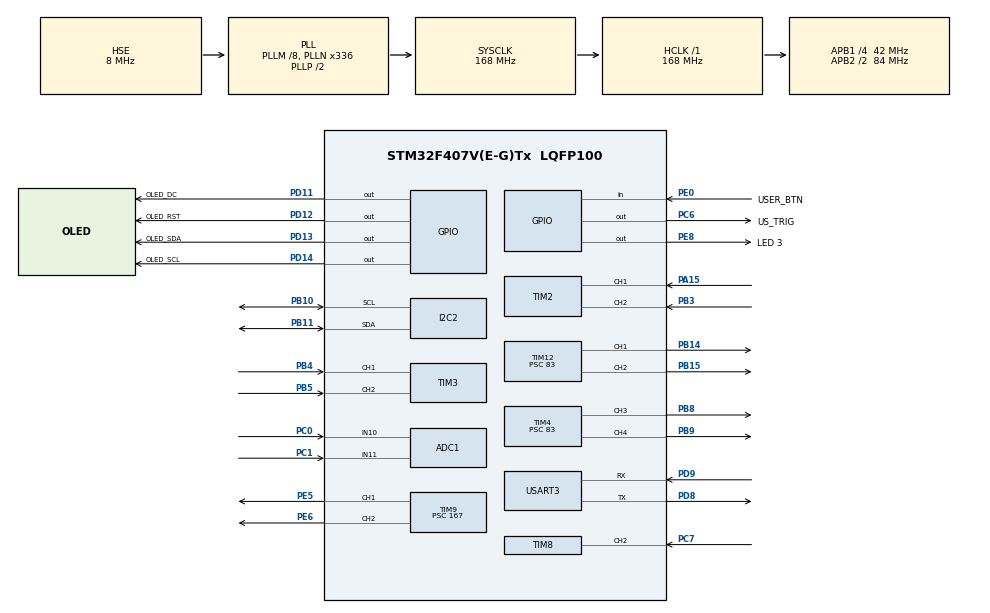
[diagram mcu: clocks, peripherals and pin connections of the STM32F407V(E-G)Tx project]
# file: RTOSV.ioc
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ADC1.Channel-0\#ChannelRegularConversion=ADC_CHANNEL_10
ADC1.Channel-1\#ChannelRegularConversion=ADC_CHANNEL_11
ADC1.DiscontinuousConvMode=DISABLE
ADC1.EOCSelection=ADC_EOC_SEQ_CONV
ADC1.NbrOfConversion=2
ADC1.NbrOfConversionFlag=1
ADC1.Rank-0\#ChannelRegularConversion=1
ADC1.Rank-1\#ChannelRegularConversion=2
ADC1.SamplingTime-0\#ChannelRegularConversion=ADC_SAMPLETIME_84CYCLES
ADC1.SamplingTime-1\#ChannelRegularConversion=ADC_SAMPLETIME_84CYCLES
ADC1.ScanConvMode=ENABLE
ADC1.master=1
Dma.ADC1.0.Direction=DMA_PERIPH_TO_MEMORY
Dma.ADC1.0.FIFOMode=DMA_FIFOMODE_DISABLE
Dma.ADC1.0.Instance=DMA2_Stream0
Dma.ADC1.0.MemDataAlignment=DMA_MDATAALIGN_HALFWORD
Dma.ADC1.0.MemInc=DMA_MINC_ENABLE
Dma.ADC1.0.Mode=DMA_NORMAL
Dma.ADC1.0.PeriphDataAlignment=DMA_PDATAALIGN_HALFWORD
Dma.ADC1.0.PeriphInc=DMA_PINC_DISABLE
Dma.ADC1.0.Priority=DMA_PRIORITY_MEDIUM
Dma.Request0=ADC1
FREERTOS.Tasks01=defaultTask,24,128,StartDefaultTask,Default,NULL,Dynamic,NULL,NULL;MotionTask,32,256,StartMotionTask,Default,NULL,Dynamic,NULL,NULL;IMUTask,24,256,StartIMUTask,Default,NULL,Dynamic,NULL,NULL;EncoderTask,24,128,StartEncoderTask,Default,NULL,Dynamic,NULL,NULL;CommTask,24,512,StartCommTask,Default,NULL,Dynamic,NULL,NULL
FREERTOS.configUSE_MALLOC_FAILED_HOOK=1
FREERTOS.configUSE_NEWLIB_REENTRANT=1
Mcu.Family=STM32F4
Mcu.Name=STM32F407V(E-G)Tx
Mcu.Package=LQFP100
NVIC.DMA2_Stream0_IRQn=true\:5\:0\:false\:false\:true\:true\:false\:true\:true
NVIC.PriorityGroup=NVIC_PRIORITYGROUP_4
NVIC.TIM6_DAC_IRQn=true\:15\:0\:false\:false\:true\:false\:false\:true\:true
NVIC.TIM8_CC_IRQn=true\:5\:0\:false\:false\:true\:true\:true\:true\:true
NVIC.TimeBase=TIM6_DAC_IRQn
NVIC.TimeBaseIP=TIM6
NVIC.USART3_IRQn=true\:5\:0\:false\:false\:true\:true\:true\:true\:true
PA13.Mode=Serial_Wire
PA13.Signal=SYS_JTMS-SWDIO
PA14.Mode=Serial_Wire
PA14.Signal=SYS_JTCK-SWCLK
PA15.Signal=S_TIM2_CH1_ETR
PB10.Mode=I2C
PB10.Signal=I2C2_SCL
PB11.Mode=I2C
PB11.Signal=I2C2_SDA
PB14.Signal=S_TIM12_CH1
PB15.Signal=S_TIM12_CH2
PB3.Signal=S_TIM2_CH2
PB4.Signal=S_TIM3_CH1
PB5.Signal=S_TIM3_CH2
PB8.Signal=S_TIM4_CH3
PB9.Signal=S_TIM4_CH4
PC0.Signal=ADCx_IN10
PC1.Signal=ADCx_IN11
PC6.GPIO_Label=US_TRIG
PC6.Signal=GPIO_Output
PC7.Signal=S_TIM8_CH2
PD11.GPIO_Label=OLED_DC
PD11.Signal=GPIO_Output
PD12.GPIO_Label=OLED_RST
PD12.Signal=GPIO_Output
PD13.GPIO_Label=OLED_SDA
PD13.Signal=GPIO_Output
PD14.GPIO_Label=OLED_SCL
PD14.Signal=GPIO_Output
PD8.Mode=Asynchronous
PD8.Signal=USART3_TX
PD9.Mode=Asynchronous
PD9.Signal=USART3_RX
PE0.GPIO_Label=USER_BTN
PE0.Signal=GPIO_Input
PE5.Signal=S_TIM9_CH1
PE6.Signal=S_TIM9_CH2
PE8.GPIO_Label=LED 3
PE8.GPIO_PuPd=GPIO_NOPULL
PE8.PinState=GPIO_PIN_SET
PE8.Signal=GPIO_Output
PH0-OSC_IN.Mode=HSE-External-Oscillator
PH0-OSC_IN.Signal=RCC_OSC_IN
PH1-OSC_OUT.Mode=HSE-External-Oscillator
PH1-OSC_OUT.Signal=RCC_OSC_OUT
ProjectManager.HeapSize=0x200
ProjectManager.StackSize=0x400
ProjectManager.TargetToolchain=STM32CubeIDE
RCC.48MHZClocksFreq_Value=84000000
RCC.AHBFreq_Value=168000000
RCC.APB1CLKDivider=RCC_HCLK_DIV4
RCC.APB1Freq_Value=42000000
RCC.APB1TimFreq_Value=84000000
RCC.APB2CLKDivider=RCC_HCLK_DIV2
RCC.APB2Freq_Value=84000000
RCC.APB2TimFreq_Value=168000000
RCC.CortexFreq_Value=168000000
RCC.HCLKFreq_Value=168000000
RCC.HSE_VALUE=8000000
RCC.HSI_VALUE=16000000
RCC.LSE_VALUE=32768
RCC.PLLM=8
RCC.PLLN=336
RCC.PLLSourceVirtual=RCC_PLLSOURCE_HSE
RCC.SYSCLKFreq_VALUE=168000000
RCC.SYSCLKSource=RCC_SYSCLKSOURCE_PLLCLK
RCC.VCOOutputFreq_Value=336000000
SH.ADCx_IN10.0=ADC1_IN10,IN10
SH.ADCx_IN11.0=ADC1_IN11,IN11
SH.S_TIM12_CH1.0=TIM12_CH1,PWM Generation1 CH1
SH.S_TIM12_CH2.0=TIM12_CH2,PWM Generation2 CH2
SH.S_TIM2_CH1_ETR.0=TIM2_CH1,Encoder_Interface
SH.S_TIM2_CH2.0=TIM2_CH2,Encoder_Interface
SH.S_TIM3_CH1.0=TIM3_CH1,Encoder_Interface
SH.S_TIM3_CH2.0=TIM3_CH2,Encoder_Interface
SH.S_TIM4_CH3.0=TIM4_CH3,PWM Generation3 CH3
SH.S_TIM4_CH4.0=TIM4_CH4,PWM Generation4 CH4
SH.S_TIM8_CH2.0=TIM8_CH2,Input_Capture2_from_TI2
SH.S_TIM9_CH1.0=TIM9_CH1,PWM Generation1 CH1
SH.S_TIM9_CH2.0=TIM9_CH2,PWM Generation2 CH2
TIM12.Channel-PWM\ Generation1\ CH1=TIM_CHANNEL_1
TIM12.Channel-PWM\ Generation2\ CH2=TIM_CHANNEL_2
TIM12.Period=9999
TIM12.Prescaler=83
TIM12.Pulse-PWM\ Generation1\ CH1=1500
TIM12.Pulse-PWM\ Generation2\ CH2=1530
TIM2.EncoderMode=TIM_ENCODERMODE_TI12
TIM3.EncoderMode=TIM_ENCODERMODE_TI12
TIM4.Channel-PWM\ Generation3\ CH3=TIM_CHANNEL_3
TIM4.Channel-PWM\ Generation4\ CH4=TIM_CHANNEL_4
TIM4.Period=99
TIM4.Prescaler=83
TIM8.Channel-Input_Capture2_from_TI2=TIM_CHANNEL_2
TIM8.ICFilter_CH2=4
TIM8.Prescaler=167
TIM9.Channel-PWM\ Generation1\ CH1=TIM_CHANNEL_1
TIM9.Channel-PWM\ Generation2\ CH2=TIM_CHANNEL_2
TIM9.Period=99
TIM9.Prescaler=167
USART3.VirtualMode=VM_ASYNC
VP_FREERTOS_VS_CMSIS_V2.Mode=CMSIS_V2
VP_SYS_VS_tim6.Mode=TIM6
VP_TIM12_VS_ClockSourceINT.Mode=Internal
VP_TIM4_VS_ClockSourceINT.Mode=Internal
VP_TIM8_VS_ClockSourceINT.Mode=Internal
VP_TIM9_VS_ClockSourceINT.Mode=Internal
board=custom

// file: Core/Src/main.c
/* USER CODE BEGIN Header */
/**
  ******************************************************************************
  * @file           : main.c
  * @brief          : Main program body
  ******************************************************************************
  * @attention
  *
  * Copyright (c) 2026 STMicroelectronics.
  * All rights reserved.
  *
  * This software is licensed under terms that can be found in the LICENSE file
  * in the root directory of this software component.
  * If no LICENSE file comes with this software, it is provided AS-IS.
  *
  ******************************************************************************
  */
/* USER CODE END Header */
#include "main.h"
#include "cmsis_os.h"

/* USER CODE BEGIN Includes */
#include "app_motor.h"
#include "app_servo.h"
#include "app_imu.h"
#include "app_encoder.h"
#include "app_motion.h"
#include "app_comm.h"
#include "app_ultrasonic.h"
#include "app_park_trace.h"
#include "app_ir.h"
#include "oled.h"

/* USER CODE END Includes */

/* USER CODE BEGIN PD */

#define APP_STATUS_PERIOD_TICKS 500U

/* IMU cold-boot recovery (StartIMUTask): named in RTOS ticks, matching
 * osDelay()'s actual parameter and this file's own APP_STATUS_PERIOD_TICKS
 * convention above, not renamed to "_MS" to avoid implying osDelay() takes
 * milliseconds. configTICK_RATE_HZ is 1000 (FreeRTOSConfig.h), so 1 tick
 * is exactly 1ms here and these values are numerically 500ms/1000ms, but
 * the names intentionally track the unit osDelay() itself consumes.
 *
 * IMU_POWERUP_SETTLE_TICKS: one-time delay before the very first
 * AppIMU_Init() probe of the cycle, to let the ICM-20948 (and any board-
 * level power-rail sequencing) reach a stable, I2C-responsive state after
 * a cold power-on. This is separate from, and does not replace, the
 * existing post-init gyro-settling delay below -- that one lets the
 * already-initialized/already-reset gyro's output settle before bias
 * calibration; this one is about the sensor being electrically present on
 * the bus at all before the first probe is even attempted.
 *
 * IMU_STARTUP_RETRY_INTERVAL_TICKS: delay before retrying after EITHER a
 * failed AppIMU_Init() or a failed AppIMU_Calibrate() -- one shared
 * constant for both, since ERR,IMU cannot and does not need to distinguish
 * which of the two failed. Long enough that retries never spin rapidly or
 * flood anything; short enough that recovery completes in a few seconds
 * even after several retries. */
#define IMU_POWERUP_SETTLE_TICKS         500U
#define IMU_STARTUP_RETRY_INTERVAL_TICKS 1000U

/* USER CODE END PD */

ADC_HandleTypeDef hadc1;
DMA_HandleTypeDef hdma_adc1;

I2C_HandleTypeDef hi2c2;

TIM_HandleTypeDef htim2;
TIM_HandleTypeDef htim3;
TIM_HandleTypeDef htim4;
TIM_HandleTypeDef htim8;
TIM_HandleTypeDef htim9;
TIM_HandleTypeDef htim12;

UART_HandleTypeDef huart3;

/* Definitions for defaultTask */
osThreadId_t defaultTaskHandle;
const osThreadAttr_t defaultTask_attributes = {
  .name = "defaultTask",
  .stack_size = 128 * 4,
  .priority = (osPriority_t) osPriorityNormal,
};
/* Definitions for MotionTask */
osThreadId_t MotionTaskHandle;
const osThreadAttr_t MotionTask_attributes = {
  .name = "MotionTask",
  .stack_size = 256 * 4,
  .priority = (osPriority_t) osPriorityAboveNormal,
};
/* Definitions for IMUTask */
osThreadId_t IMUTaskHandle;
const osThreadAttr_t IMUTask_attributes = {
  .name = "IMUTask",
  .stack_size = 256 * 4,
  .priority = (osPriority_t) osPriorityNormal,
};
/* Definitions for EncoderTask */
osThreadId_t EncoderTaskHandle;
const osThreadAttr_t EncoderTask_attributes = {
  .name = "EncoderTask",
  .stack_size = 128 * 4,
  .priority = (osPriority_t) osPriorityNormal,
};
/* Definitions for CommTask */
osThreadId_t CommTaskHandle;
const osThreadAttr_t CommTask_attributes = {
  .name = "CommTask",
  .stack_size = 512 * 4,
  .priority = (osPriority_t) osPriorityNormal,
};
/* USER CODE BEGIN PV */
osMessageQueueId_t MotionQueueHandle;
osMessageQueueId_t CommRxQueueHandle;

/* Ultrasonic ranging task. Created by hand (not in RTOSV.ioc) so CubeMX
 * regeneration leaves it alone. Priority is BelowNormal so it can never
 * delay MotionTask or CommTask (the STOP path); edge timing is done by TIM8
 * hardware, so task latency only affects measurement cadence and age.
 * The stack is 512 bytes (128 words); stack_size is in bytes. */
osThreadId_t UltrasonicTaskHandle;
const osThreadAttr_t UltrasonicTask_attributes = {
  .name = "UltrasonicTask",
  .stack_size = 128 * 4,
  .priority = (osPriority_t) osPriorityBelowNormal,
};

#if APP_IR_ENABLE
/* IR raw acquisition task (APP_IR_ENABLE, default 0). Created by hand like
 * UltrasonicTask so CubeMX regeneration leaves it alone; same BelowNormal
 * priority, so it can never delay MotionTask or CommTask. 512-byte stack. */
osThreadId_t IRTaskHandle;
const osThreadAttr_t IRTask_attributes = {
  .name = "IRTask",
  .stack_size = 128 * 4,
  .priority = (osPriority_t) osPriorityBelowNormal,
};
#endif
#if APP_IR_ENABLE
/* MotionTask's copy of the newest raw IR publication, for the Phase 5 edge
 * detector (MOV,FIRL / MOV,FIRR). A file static keeps it off MotionTask's
 * small stack. */
static AppIrSnapshot motionIrSnapshot;
#endif
/* USER CODE END PV */

void SystemClock_Config(void);
static void MX_GPIO_Init(void);
static void MX_DMA_Init(void);
static void MX_TIM4_Init(void);
static void MX_TIM2_Init(void);
static void MX_TIM9_Init(void);
static void MX_TIM12_Init(void);
static void MX_USART3_UART_Init(void);
static void MX_TIM3_Init(void);
static void MX_I2C2_Init(void);
static void MX_ADC1_Init(void);
static void MX_TIM8_Init(void);
void StartDefaultTask(void *argument);
void StartMotionTask(void *argument);
void StartIMUTask(void *argument);
void StartEncoderTask(void *argument);
void StartCommTask(void *argument);

/* USER CODE BEGIN PFP */
void StartUltrasonicTask(void *argument);
#if APP_IR_ENABLE
void StartIRTask(void *argument);
#endif
/* USER CODE END PFP */

/* USER CODE BEGIN 0 */

static uint32_t AppUI_Magnitude(int32_t value)
{
  if (value < 0)
  {
    return (uint32_t)(-(value + 1)) + 1U;
  }

  return (uint32_t)value;
}

static int32_t AppUI_ToTenths(float value)
{
  float scaled = value * 10.0f;

  if (scaled >= 0.0f)
  {
    scaled += 0.5f;
  }
  else
  {
    scaled -= 0.5f;
  }

  return (int32_t)scaled;
}

static void AppUI_ClearBuffer(void)
{
  uint8_t page;
  uint8_t x;

  for (page = 0U; page < (OLED_Height / 8U); page++)
  {
    for (x = 0U; x < OLED_Width; x++)
    {
      OLED_GRAM[x][page] = 0U;
    }
  }
}

static void AppUI_ShowSigned(
    uint8_t x,
    uint8_t y,
    int32_t value,
    uint8_t digits)
{
  OLED_ShowChar(
      x,
      y,
      (uint8_t)((value < 0) ? '-' : ' '),
      12U,
      1U
  );
  OLED_ShowNumber(
      (uint8_t)(x + 6U),
      y,
      AppUI_Magnitude(value),
      digits,
      12U
  );
}

static void AppUI_ShowHeadingX10(
    uint8_t x,
    uint8_t y,
    int32_t headingX10)
{
  uint32_t magnitude = AppUI_Magnitude(headingX10);

  OLED_ShowChar(
      x,
      y,
      (uint8_t)((headingX10 < 0) ? '-' : ' '),
      12U,
      1U
  );
  OLED_ShowNumber(
      (uint8_t)(x + 6U),
      y,
      magnitude / 10U,
      6U,
      12U
  );
  OLED_ShowChar(
      (uint8_t)(x + 42U),
      y,
      (uint8_t)'.',
      12U,
      1U
  );
  OLED_ShowNumber(
      (uint8_t)(x + 48U),
      y,
      magnitude % 10U,
      1U,
      12U
  );
}

static void AppUI_Refresh(void)
{
  AppEncoderSnapshot encoder = AppEncoder_GetSnapshot();
  AppIMUSnapshot imu;
  AppMotionState state = AppMotion_GetState();

  AppIMU_GetSnapshot(&imu);
  AppUI_ClearBuffer();

  OLED_ShowString(0U, 0U, (const uint8_t *)"S:");
  OLED_ShowNumber(16U, 0U, (uint32_t)state, 2U, 12U);
  OLED_ShowString(40U, 0U, (const uint8_t *)"I:");
  OLED_ShowNumber(56U, 0U, (uint32_t)imu.ready, 1U, 12U);

  OLED_ShowString(0U, 16U, (const uint8_t *)"L:");
  AppUI_ShowSigned(16U, 16U, encoder.left, 10U);

  OLED_ShowString(0U, 32U, (const uint8_t *)"R:");
  AppUI_ShowSigned(16U, 32U, encoder.right, 10U);

  OLED_ShowString(0U, 48U, (const uint8_t *)"H:");

  if (imu.ready != 0U)
  {
    AppUI_ShowHeadingX10(
        16U,
        48U,
        AppUI_ToTenths(imu.headingDeg)
    );
  }
  else
  {
    OLED_ShowString(16U, 48U, (const uint8_t *)"ERR");
  }

  OLED_Refresh_Gram();
}

/* USER CODE END 0 */

int main(void)
{

  /* MCU Configuration--------------------------------------------------------*/

  /* Reset of all peripherals, Initializes the Flash interface and the Systick. */
  HAL_Init();

  /* Configure the system clock */
  SystemClock_Config();

  /* Initialize all configured peripherals */
  MX_GPIO_Init();
  MX_DMA_Init();
  MX_TIM4_Init();
  MX_TIM2_Init();
  MX_TIM9_Init();
  MX_TIM12_Init();
  MX_USART3_UART_Init();
  MX_TIM3_Init();
  MX_I2C2_Init();
  MX_ADC1_Init();
  MX_TIM8_Init();

  /* Init scheduler */
  osKernelInitialize();

  /* USER CODE BEGIN RTOS_QUEUES */

  MotionQueueHandle = osMessageQueueNew(
      8,
      sizeof(MotionCommand),
      NULL
  );

  if (MotionQueueHandle == NULL)
  {
      Error_Handler();
  }

  CommRxQueueHandle = osMessageQueueNew(
      128,
      sizeof(uint8_t),
      NULL
  );

  if (CommRxQueueHandle == NULL)
  {
      Error_Handler();
  }
  /* USER CODE END RTOS_QUEUES */

  /* Create the thread(s) */
  /* creation of defaultTask */
  defaultTaskHandle = osThreadNew(StartDefaultTask, NULL, &defaultTask_attributes);

  /* creation of MotionTask */
  MotionTaskHandle = osThreadNew(StartMotionTask, NULL, &MotionTask_attributes);

  /* creation of IMUTask */
  IMUTaskHandle = osThreadNew(StartIMUTask, NULL, &IMUTask_attributes);

  /* creation of EncoderTask */
  EncoderTaskHandle = osThreadNew(StartEncoderTask, NULL, &EncoderTask_attributes);

  /* creation of CommTask */
  CommTaskHandle = osThreadNew(StartCommTask, NULL, &CommTask_attributes);

  /* USER CODE BEGIN RTOS_THREADS */
  /* add threads, ... */
  /* Soft-fail by design: a failed creation must never hang the boot of the
   * motion/comm tasks (Error_Handler() disables interrupts forever). It is
   * not silent, though: the consumer-visible snapshot becomes FAULT
   * (faultMask APP_US_FAULT_TASK, also shown as ST:FAULT/FM:80 in the bench
   * log), PC6 is forced low and TIM8 capture is never started. Servicing is
   * NOT moved into another task. */
  UltrasonicTaskHandle = osThreadNew(StartUltrasonicTask, NULL, &UltrasonicTask_attributes);

  if (UltrasonicTaskHandle == NULL)
  {
    AppUltrasonic_ReportTaskCreateFailure();
  }

#if APP_IR_ENABLE
  /* Same soft-fail policy: the IR snapshot becomes a latched FAULT
   * (APP_IR_FAULT_TASK) and the ADC is never started. */
  IRTaskHandle = osThreadNew(StartIRTask, NULL, &IRTask_attributes);

  if (IRTaskHandle == NULL)
  {
    AppIr_ReportTaskCreateFailure();
  }
#endif
  /* USER CODE END RTOS_THREADS */

  /* Start scheduler */
  osKernelStart();

  /* We should never get here as control is now taken by the scheduler */

  /* Infinite loop */
  while (1)
  {

  }
}

void SystemClock_Config(void)
{
  RCC_OscInitTypeDef RCC_OscInitStruct = {0};
  RCC_ClkInitTypeDef RCC_ClkInitStruct = {0};

  /** Configure the main internal regulator output voltage
  */
  __HAL_RCC_PWR_CLK_ENABLE();
  __HAL_PWR_VOLTAGESCALING_CONFIG(PWR_REGULATOR_VOLTAGE_SCALE1);

  /** Initializes the RCC Oscillators according to the specified parameters
  * in the RCC_OscInitTypeDef structure.
  */
  RCC_OscInitStruct.OscillatorType = RCC_OSCILLATORTYPE_HSE;
  RCC_OscInitStruct.HSEState = RCC_HSE_ON;
  RCC_OscInitStruct.PLL.PLLState = RCC_PLL_ON;
  RCC_OscInitStruct.PLL.PLLSource = RCC_PLLSOURCE_HSE;
  RCC_OscInitStruct.PLL.PLLM = 8;
  RCC_OscInitStruct.PLL.PLLN = 336;
  RCC_OscInitStruct.PLL.PLLP = RCC_PLLP_DIV2;
  RCC_OscInitStruct.PLL.PLLQ = 4;
  if (HAL_RCC_OscConfig(&RCC_OscInitStruct) != HAL_OK)
  {
    Error_Handler();
  }

  /** Initializes the CPU, AHB and APB buses clocks
  */
  RCC_ClkInitStruct.ClockType = RCC_CLOCKTYPE_HCLK|RCC_CLOCKTYPE_SYSCLK
                              |RCC_CLOCKTYPE_PCLK1|RCC_CLOCKTYPE_PCLK2;
  RCC_ClkInitStruct.SYSCLKSource = RCC_SYSCLKSOURCE_PLLCLK;
  RCC_ClkInitStruct.AHBCLKDivider = RCC_SYSCLK_DIV1;
  RCC_ClkInitStruct.APB1CLKDivider = RCC_HCLK_DIV4;
  RCC_ClkInitStruct.APB2CLKDivider = RCC_HCLK_DIV2;

  if (HAL_RCC_ClockConfig(&RCC_ClkInitStruct, FLASH_LATENCY_5) != HAL_OK)
  {
    Error_Handler();
  }
}

static void MX_ADC1_Init(void)
{

  ADC_ChannelConfTypeDef sConfig = {0};

  /** Configure the global features of the ADC (Clock, Resolution, Data Alignment and number of conversion)
  */
  hadc1.Instance = ADC1;
  hadc1.Init.ClockPrescaler = ADC_CLOCK_SYNC_PCLK_DIV4;
  hadc1.Init.Resolution = ADC_RESOLUTION_12B;
  hadc1.Init.ScanConvMode = ENABLE;
  hadc1.Init.ContinuousConvMode = DISABLE;
  hadc1.Init.DiscontinuousConvMode = DISABLE;
  hadc1.Init.ExternalTrigConvEdge = ADC_EXTERNALTRIGCONVEDGE_NONE;
  hadc1.Init.ExternalTrigConv = ADC_SOFTWARE_START;
  hadc1.Init.DataAlign = ADC_DATAALIGN_RIGHT;
  hadc1.Init.NbrOfConversion = 2;
  hadc1.Init.DMAContinuousRequests = DISABLE;
  hadc1.Init.EOCSelection = ADC_EOC_SEQ_CONV;
  if (HAL_ADC_Init(&hadc1) != HAL_OK)
  {
    Error_Handler();
  }

  /** Configure for the selected ADC regular channel its corresponding rank in the sequencer and its sample time.
  */
  sConfig.Channel = ADC_CHANNEL_10;
  sConfig.Rank = 1;
  sConfig.SamplingTime = ADC_SAMPLETIME_84CYCLES;
  if (HAL_ADC_ConfigChannel(&hadc1, &sConfig) != HAL_OK)
  {
    Error_Handler();
  }

  /** Configure for the selected ADC regular channel its corresponding rank in the sequencer and its sample time.
  */
  sConfig.Channel = ADC_CHANNEL_11;
  sConfig.Rank = 2;
  if (HAL_ADC_ConfigChannel(&hadc1, &sConfig) != HAL_OK)
  {
    Error_Handler();
  }

}

static void MX_I2C2_Init(void)
{

  hi2c2.Instance = I2C2;
  hi2c2.Init.ClockSpeed = 100000;
  hi2c2.Init.DutyCycle = I2C_DUTYCYCLE_2;
  hi2c2.Init.OwnAddress1 = 0;
  hi2c2.Init.AddressingMode = I2C_ADDRESSINGMODE_7BIT;
  hi2c2.Init.DualAddressMode = I2C_DUALADDRESS_DISABLE;
  hi2c2.Init.OwnAddress2 = 0;
  hi2c2.Init.GeneralCallMode = I2C_GENERALCALL_DISABLE;
  hi2c2.Init.NoStretchMode = I2C_NOSTRETCH_DISABLE;
  if (HAL_I2C_Init(&hi2c2) != HAL_OK)
  {
    Error_Handler();
  }

}

static void MX_TIM2_Init(void)
{

  TIM_Encoder_InitTypeDef sConfig = {0};
  TIM_MasterConfigTypeDef sMasterConfig = {0};

  htim2.Instance = TIM2;
  htim2.Init.Prescaler = 0;
  htim2.Init.CounterMode = TIM_COUNTERMODE_UP;
  htim2.Init.Period = 4294967295;
  htim2.Init.ClockDivision = TIM_CLOCKDIVISION_DIV1;
  htim2.Init.AutoReloadPreload = TIM_AUTORELOAD_PRELOAD_DISABLE;
  sConfig.EncoderMode = TIM_ENCODERMODE_TI12;
  sConfig.IC1Polarity = TIM_ICPOLARITY_RISING;
  sConfig.IC1Selection = TIM_ICSELECTION_DIRECTTI;
  sConfig.IC1Prescaler = TIM_ICPSC_DIV1;
  sConfig.IC1Filter = 0;
  sConfig.IC2Polarity = TIM_ICPOLARITY_RISING;
  sConfig.IC2Selection = TIM_ICSELECTION_DIRECTTI;
  sConfig.IC2Prescaler = TIM_ICPSC_DIV1;
  sConfig.IC2Filter = 0;
  if (HAL_TIM_Encoder_Init(&htim2, &sConfig) != HAL_OK)
  {
    Error_Handler();
  }
  sMasterConfig.MasterOutputTrigger = TIM_TRGO_RESET;
  sMasterConfig.MasterSlaveMode = TIM_MASTERSLAVEMODE_DISABLE;
  if (HAL_TIMEx_MasterConfigSynchronization(&htim2, &sMasterConfig) != HAL_OK)
  {
    Error_Handler();
  }

}

static void MX_TIM3_Init(void)
{

  TIM_Encoder_InitTypeDef sConfig = {0};
  TIM_MasterConfigTypeDef sMasterConfig = {0};

  htim3.Instance = TIM3;
  htim3.Init.Prescaler = 0;
  htim3.Init.CounterMode = TIM_COUNTERMODE_UP;
  htim3.Init.Period = 65535;
  htim3.Init.ClockDivision = TIM_CLOCKDIVISION_DIV1;
  htim3.Init.AutoReloadPreload = TIM_AUTORELOAD_PRELOAD_DISABLE;
  sConfig.EncoderMode = TIM_ENCODERMODE_TI12;
  sConfig.IC1Polarity = TIM_ICPOLARITY_RISING;
  sConfig.IC1Selection = TIM_ICSELECTION_DIRECTTI;
  sConfig.IC1Prescaler = TIM_ICPSC_DIV1;
  sConfig.IC1Filter = 0;
  sConfig.IC2Polarity = TIM_ICPOLARITY_RISING;
  sConfig.IC2Selection = TIM_ICSELECTION_DIRECTTI;
  sConfig.IC2Prescaler = TIM_ICPSC_DIV1;
  sConfig.IC2Filter = 0;
  if (HAL_TIM_Encoder_Init(&htim3, &sConfig) != HAL_OK)
  {
    Error_Handler();
  }
  sMasterConfig.MasterOutputTrigger = TIM_TRGO_RESET;
  sMasterConfig.MasterSlaveMode = TIM_MASTERSLAVEMODE_DISABLE;
  if (HAL_TIMEx_MasterConfigSynchronization(&htim3, &sMasterConfig) != HAL_OK)
  {
    Error_Handler();
  }

}

static void MX_TIM4_Init(void)
{

  TIM_ClockConfigTypeDef sClockSourceConfig = {0};
  TIM_MasterConfigTypeDef sMasterConfig = {0};
  TIM_OC_InitTypeDef sConfigOC = {0};

  htim4.Instance = TIM4;
  htim4.Init.Prescaler = 83;
  htim4.Init.CounterMode = TIM_COUNTERMODE_UP;
  htim4.Init.Period = 99;
  htim4.Init.ClockDivision = TIM_CLOCKDIVISION_DIV1;
  htim4.Init.AutoReloadPreload = TIM_AUTORELOAD_PRELOAD_DISABLE;
  if (HAL_TIM_Base_Init(&htim4) != HAL_OK)
  {
    Error_Handler();
  }
  sClockSourceConfig.ClockSource = TIM_CLOCKSOURCE_INTERNAL;
  if (HAL_TIM_ConfigClockSource(&htim4, &sClockSourceConfig) != HAL_OK)
  {
    Error_Handler();
  }
  if (HAL_TIM_PWM_Init(&htim4) != HAL_OK)
  {
    Error_Handler();
  }
  sMasterConfig.MasterOutputTrigger = TIM_TRGO_RESET;
  sMasterConfig.MasterSlaveMode = TIM_MASTERSLAVEMODE_DISABLE;
  if (HAL_TIMEx_MasterConfigSynchronization(&htim4, &sMasterConfig) != HAL_OK)
  {
    Error_Handler();
  }
  sConfigOC.OCMode = TIM_OCMODE_PWM1;
  sConfigOC.Pulse = 0;
  sConfigOC.OCPolarity = TIM_OCPOLARITY_HIGH;
  sConfigOC.OCFastMode = TIM_OCFAST_DISABLE;
  if (HAL_TIM_PWM_ConfigChannel(&htim4, &sConfigOC, TIM_CHANNEL_3) != HAL_OK)
  {
    Error_Handler();
  }
  if (HAL_TIM_PWM_ConfigChannel(&htim4, &sConfigOC, TIM_CHANNEL_4) != HAL_OK)
  {
    Error_Handler();
  }
  HAL_TIM_MspPostInit(&htim4);

}

static void MX_TIM8_Init(void)
{

  TIM_ClockConfigTypeDef sClockSourceConfig = {0};
  TIM_MasterConfigTypeDef sMasterConfig = {0};
  TIM_IC_InitTypeDef sConfigIC = {0};

  htim8.Instance = TIM8;
  htim8.Init.Prescaler = 167;
  htim8.Init.CounterMode = TIM_COUNTERMODE_UP;
  htim8.Init.Period = 65535;
  htim8.Init.ClockDivision = TIM_CLOCKDIVISION_DIV1;
  htim8.Init.RepetitionCounter = 0;
  htim8.Init.AutoReloadPreload = TIM_AUTORELOAD_PRELOAD_DISABLE;
  if (HAL_TIM_Base_Init(&htim8) != HAL_OK)
  {
    Error_Handler();
  }
  sClockSourceConfig.ClockSource = TIM_CLOCKSOURCE_INTERNAL;
  if (HAL_TIM_ConfigClockSource(&htim8, &sClockSourceConfig) != HAL_OK)
  {
    Error_Handler();
  }
  if (HAL_TIM_IC_Init(&htim8) != HAL_OK)
  {
    Error_Handler();
  }
  sMasterConfig.MasterOutputTrigger = TIM_TRGO_RESET;
  sMasterConfig.MasterSlaveMode = TIM_MASTERSLAVEMODE_DISABLE;
  if (HAL_TIMEx_MasterConfigSynchronization(&htim8, &sMasterConfig) != HAL_OK)
  {
    Error_Handler();
  }
  sConfigIC.ICPolarity = TIM_INPUTCHANNELPOLARITY_RISING;
  sConfigIC.ICSelection = TIM_ICSELECTION_DIRECTTI;
  sConfigIC.ICPrescaler = TIM_ICPSC_DIV1;
  sConfigIC.ICFilter = 4;
  if (HAL_TIM_IC_ConfigChannel(&htim8, &sConfigIC, TIM_CHANNEL_2) != HAL_OK)
  {
    Error_Handler();
  }

}

static void MX_TIM9_Init(void)
{

  TIM_ClockConfigTypeDef sClockSourceConfig = {0};
  TIM_OC_InitTypeDef sConfigOC = {0};

  htim9.Instance = TIM9;
  htim9.Init.Prescaler = 167;
  htim9.Init.CounterMode = TIM_COUNTERMODE_UP;
  htim9.Init.Period = 99;
  htim9.Init.ClockDivision = TIM_CLOCKDIVISION_DIV1;
  htim9.Init.AutoReloadPreload = TIM_AUTORELOAD_PRELOAD_DISABLE;
  if (HAL_TIM_Base_Init(&htim9) != HAL_OK)
  {
    Error_Handler();
  }
  sClockSourceConfig.ClockSource = TIM_CLOCKSOURCE_INTERNAL;
  if (HAL_TIM_ConfigClockSource(&htim9, &sClockSourceConfig) != HAL_OK)
  {
    Error_Handler();
  }
  if (HAL_TIM_PWM_Init(&htim9) != HAL_OK)
  {
    Error_Handler();
  }
  sConfigOC.OCMode = TIM_OCMODE_PWM1;
  sConfigOC.Pulse = 0;
  sConfigOC.OCPolarity = TIM_OCPOLARITY_HIGH;
  sConfigOC.OCFastMode = TIM_OCFAST_DISABLE;
  if (HAL_TIM_PWM_ConfigChannel(&htim9, &sConfigOC, TIM_CHANNEL_1) != HAL_OK)
  {
    Error_Handler();
  }
  if (HAL_TIM_PWM_ConfigChannel(&htim9, &sConfigOC, TIM_CHANNEL_2) != HAL_OK)
  {
    Error_Handler();
  }
  HAL_TIM_MspPostInit(&htim9);

}

static void MX_TIM12_Init(void)
{

  TIM_ClockConfigTypeDef sClockSourceConfig = {0};
  TIM_OC_InitTypeDef sConfigOC = {0};

  htim12.Instance = TIM12;
  htim12.Init.Prescaler = 83;
  htim12.Init.CounterMode = TIM_COUNTERMODE_UP;
  htim12.Init.Period = 9999;
  htim12.Init.ClockDivision = TIM_CLOCKDIVISION_DIV1;
  htim12.Init.AutoReloadPreload = TIM_AUTORELOAD_PRELOAD_DISABLE;
  if (HAL_TIM_Base_Init(&htim12) != HAL_OK)
  {
    Error_Handler();
  }
  sClockSourceConfig.ClockSource = TIM_CLOCKSOURCE_INTERNAL;
  if (HAL_TIM_ConfigClockSource(&htim12, &sClockSourceConfig) != HAL_OK)
  {
    Error_Handler();
  }
  if (HAL_TIM_PWM_Init(&htim12) != HAL_OK)
  {
    Error_Handler();
  }
  sConfigOC.OCMode = TIM_OCMODE_PWM1;
  sConfigOC.Pulse = 1500;
  sConfigOC.OCPolarity = TIM_OCPOLARITY_HIGH;
  sConfigOC.OCFastMode = TIM_OCFAST_DISABLE;
  if (HAL_TIM_PWM_ConfigChannel(&htim12, &sConfigOC, TIM_CHANNEL_1) != HAL_OK)
  {
    Error_Handler();
  }
  sConfigOC.Pulse = 1530;
  if (HAL_TIM_PWM_ConfigChannel(&htim12, &sConfigOC, TIM_CHANNEL_2) != HAL_OK)
  {
    Error_Handler();
  }
  HAL_TIM_MspPostInit(&htim12);

}

static void MX_USART3_UART_Init(void)
{

  huart3.Instance = USART3;
  huart3.Init.BaudRate = 115200;
  huart3.Init.WordLength = UART_WORDLENGTH_8B;
  huart3.Init.StopBits = UART_STOPBITS_1;
  huart3.Init.Parity = UART_PARITY_NONE;
  huart3.Init.Mode = UART_MODE_TX_RX;
  huart3.Init.HwFlowCtl = UART_HWCONTROL_NONE;
  huart3.Init.OverSampling = UART_OVERSAMPLING_16;
  if (HAL_UART_Init(&huart3) != HAL_OK)
  {
    Error_Handler();
  }

}

static void MX_DMA_Init(void)
{

  /* DMA controller clock enable */
  __HAL_RCC_DMA2_CLK_ENABLE();

  /* DMA interrupt init */
  /* DMA2_Stream0_IRQn interrupt configuration */
  HAL_NVIC_SetPriority(DMA2_Stream0_IRQn, 5, 0);
  HAL_NVIC_EnableIRQ(DMA2_Stream0_IRQn);

}

static void MX_GPIO_Init(void)
{
  GPIO_InitTypeDef GPIO_InitStruct = {0};

  /* GPIO Ports Clock Enable */
  __HAL_RCC_GPIOE_CLK_ENABLE();
  __HAL_RCC_GPIOH_CLK_ENABLE();
  __HAL_RCC_GPIOC_CLK_ENABLE();
  __HAL_RCC_GPIOB_CLK_ENABLE();
  __HAL_RCC_GPIOD_CLK_ENABLE();
  __HAL_RCC_GPIOA_CLK_ENABLE();

  /*Configure GPIO pin Output Level */
  HAL_GPIO_WritePin(LED_3_GPIO_Port, LED_3_Pin, GPIO_PIN_SET);

  /*Configure GPIO pin Output Level */
  HAL_GPIO_WritePin(GPIOD, OLED_DC_Pin|OLED_RST_Pin|OLED_SDA_Pin|OLED_SCL_Pin, GPIO_PIN_RESET);

  /*Configure GPIO pin Output Level */
  HAL_GPIO_WritePin(US_TRIG_GPIO_Port, US_TRIG_Pin, GPIO_PIN_RESET);

  /*Configure GPIO pin : LED_3_Pin */
  GPIO_InitStruct.Pin = LED_3_Pin;
  GPIO_InitStruct.Mode = GPIO_MODE_OUTPUT_PP;
  GPIO_InitStruct.Pull = GPIO_NOPULL;
  GPIO_InitStruct.Speed = GPIO_SPEED_FREQ_LOW;
  HAL_GPIO_Init(LED_3_GPIO_Port, &GPIO_InitStruct);

  /*Configure GPIO pins : OLED_DC_Pin OLED_RST_Pin OLED_SDA_Pin OLED_SCL_Pin */
  GPIO_InitStruct.Pin = OLED_DC_Pin|OLED_RST_Pin|OLED_SDA_Pin|OLED_SCL_Pin;
  GPIO_InitStruct.Mode = GPIO_MODE_OUTPUT_PP;
  GPIO_InitStruct.Pull = GPIO_NOPULL;
  GPIO_InitStruct.Speed = GPIO_SPEED_FREQ_LOW;
  HAL_GPIO_Init(GPIOD, &GPIO_InitStruct);

  /*Configure GPIO pin : US_TRIG_Pin */
  GPIO_InitStruct.Pin = US_TRIG_Pin;
  GPIO_InitStruct.Mode = GPIO_MODE_OUTPUT_PP;
  GPIO_InitStruct.Pull = GPIO_NOPULL;
  GPIO_InitStruct.Speed = GPIO_SPEED_FREQ_LOW;
  HAL_GPIO_Init(US_TRIG_GPIO_Port, &GPIO_InitStruct);

  /*Configure GPIO pin : USER_BTN_Pin */
  GPIO_InitStruct.Pin = USER_BTN_Pin;
  GPIO_InitStruct.Mode = GPIO_MODE_INPUT;
  GPIO_InitStruct.Pull = GPIO_NOPULL;
  HAL_GPIO_Init(USER_BTN_GPIO_Port, &GPIO_InitStruct);

}

/* USER CODE BEGIN 4 */

/* TIM8 callback dispatchers for the ultrasonic driver. Strong definitions
 * of the HAL's weak callbacks; this file is their single owner so every
 * TIM routing decision is visible in one place. They run inside
 * HAL_TIM_IRQHandler() (TIM8_CC_IRQHandler), which has already cleared the
 * channel flag and set htim->Channel. USE_HAL_TIM_REGISTER_CALLBACKS is 0.
 *   CH2 input capture  -> Echo edge timestamp
 *   CH3 output compare -> end of Trigger pulse, then no-Echo timeout
 * The HAL also calls HAL_TIM_PWM_PulseFinishedCallback() for CH3; that
 * stays the (empty) weak default. TIM6's HAL_TIM_PeriodElapsedCallback()
 * above is a different function and is unaffected. */
void HAL_TIM_IC_CaptureCallback(TIM_HandleTypeDef *htim)
{
  if ((htim->Instance == TIM8) &&
      (htim->Channel == HAL_TIM_ACTIVE_CHANNEL_2))
  {
    AppUltrasonic_OnCapture();
  }
}

void HAL_TIM_OC_DelayElapsedCallback(TIM_HandleTypeDef *htim)
{
  if ((htim->Instance == TIM8) &&
      (htim->Channel == HAL_TIM_ACTIVE_CHANNEL_3))
  {
    AppUltrasonic_OnCompare();
  }
}

/**
  * @brief  UltrasonicTask: triggers, classifies, filters and publishes.
  *         Fixed 10 ms period; never blocks on the sensor (edge timing is
  *         done by TIM8 hardware). Readings are NOT connected to motion
  *         control or the stopping logic.
  */
void StartUltrasonicTask(void *argument)
{
  uint32_t nextWake;

  (void)argument;

  AppUltrasonic_Init();
  nextWake = osKernelGetTickCount();

  for (;;)
  {
    AppUltrasonic_Service(osKernelGetTickCount());

    nextWake += APP_US_SERVICE_PERIOD_TICKS_RTOS;
    (void)osDelayUntil(nextWake);
  }
}

#if APP_IR_ENABLE
/* ADC1 callback dispatchers for the IR acquisition (APP_IR_ENABLE). Strong
 * definitions of the HAL's weak callbacks; this file is their single owner.
 * They run inside DMA2_Stream0_IRQHandler() -> HAL_DMA_IRQHandler() (priority
 * 5, masked by FreeRTOS critical sections). ADC_IRQn is not enabled, so the
 * error callback is reached only through the HAL's DMA error path.
 * USE_HAL_ADC_REGISTER_CALLBACKS is 0. HAL_ADC_ConvHalfCpltCallback() stays
 * the (empty) weak default. */
void HAL_ADC_ConvCpltCallback(ADC_HandleTypeDef *hadc)
{
  if (hadc->Instance == ADC1)
  {
    AppIr_OnConvComplete();
  }
}

void HAL_ADC_ErrorCallback(ADC_HandleTypeDef *hadc)
{
  if (hadc->Instance == ADC1)
  {
    AppIr_OnError(hadc->ErrorCode);
  }
}

/**
  * @brief  IRTask: raw two-channel IR ADC acquisition (Phase 1). Fixed
  *         10 ms service period; one scan in flight at most, never waits
  *         on the ADC. Raw counts only -- NOT distance, NOT connected to
  *         motion control or the stopping logic.
  */
void StartIRTask(void *argument)
{
  uint32_t nextWake;

  (void)argument;

  AppIr_Init();
  nextWake = osKernelGetTickCount();

  for (;;)
  {
    AppIr_Service(osKernelGetTickCount());

    nextWake += APP_IR_SERVICE_PERIOD_TICKS;
    (void)osDelayUntil(nextWake);
  }
}
#endif /* APP_IR_ENABLE */

/* USER CODE END 4 */

void StartDefaultTask(void *argument)
{
  /* USER CODE BEGIN 5 */

  uint32_t nextWake;

  (void)argument;
  (void)osThreadSetPriority(osThreadGetId(), osPriorityLow);

  OLED_Init();
  nextWake = osKernelGetTickCount();

  for(;;)
  {
    AppUI_Refresh();
    HAL_GPIO_TogglePin(LED_3_GPIO_Port, LED_3_Pin);

    nextWake += APP_STATUS_PERIOD_TICKS;
    (void)osDelayUntil(nextWake);
  }
  /* USER CODE END 5 */
}

void StartMotionTask(void *argument)
{
  /* USER CODE BEGIN StartMotionTask */

  MotionCommand command;

  AppServo_Init();
  AppMotor_Init();
  AppMotion_Init();

  uint32_t lastTick = osKernelGetTickCount();

  for (;;)
  {
    /* Priority STOP first, then the normal queue (see
     * AppComm_TakeMotionCommand() in app_comm.c). */
    if (AppComm_TakeMotionCommand(&command))
    {
      AppMotion_HandleCommand(&command);
    }

    uint32_t now =
        osKernelGetTickCount();

    float dtSeconds =
        (float)(now - lastTick)
        / (float)osKernelGetTickFreq();

    lastTick = now;

#if APP_IR_ENABLE
    /* Phase 5: while a MOV,FIRL / MOV,FIRR movement is armed, hand it the
     * newest raw IR publication. Before AppMotion_Update() and outside it, so
     * the IR call chain never nests under Update's large frame. A plain MOV
     * makes no IR call at all. */
    if (AppMotion_IrEdgeArmed())
    {
        AppIr_GetSnapshot(&motionIrSnapshot);
        AppMotion_ServiceIrEdge(&motionIrSnapshot, now);
    }
#endif

    AppMotion_Update(dtSeconds);

#if APP_USPARK_TRACE
    /* Measurement-only USPARK trace: both encoders, every cycle; the trace
     * ignores it unless an automatic parking stop window is open. */
    AppParkTrace_Sample(osKernelGetTickCount(),
                        AppEncoder_Left(),
                        AppEncoder_Right());
#endif

    osDelay(10);
  }

  /* USER CODE END StartMotionTask */
}

void StartIMUTask(void *argument)
{
  /* USER CODE BEGIN StartIMUTask */

  /* Cold-boot IMU recovery: the leading hypothesis is a power-up race
   * between the MCU (which can finish its own boot and reach this task
   * within milliseconds) and the external ICM-20948 sensor's own power-on/
   * reset time, matching the observed symptom (fails after cold power-on,
   * recovers after a warm STM reset that never removed the sensor's own
   * power). This is NOT proven, though: ERR,IMU (app_comm.c) only reports
   * whether the published IMU snapshot is ready, and cannot distinguish an
   * AppIMU_Init() probe/configuration failure from an AppIMU_Calibrate()
   * failure. The retry loop below does not assume which one occurs -- it
   * covers both uniformly by always restarting from a full AppIMU_Init()
   * after any failure, so it recovers correctly regardless of where the
   * real fault lies.
   *
   * All initialization/recovery ownership stays here, inside IMUTask,
   * exactly as before; on_vision_ready() (app_comm.c) remains empty and
   * unrelated. No MCU reset is performed -- only this task's own retry
   * loop. */
  osDelay(IMU_POWERUP_SETTLE_TICKS);

  for (;;)
  {
    if (!AppIMU_Init())
    {
      /* imuReady remains false throughout (AppIMU_Init() itself forces
       * it false) -- wait, then retry. Never spins without a delay. */
      osDelay(IMU_STARTUP_RETRY_INTERVAL_TICKS);
      continue;
    }

    /* Let gyro settle before bias calibration -- unchanged, still runs
     * after every successful AppIMU_Init(), including retries. */
    osDelay(1000);

    if (AppIMU_Calibrate())
    {
      break;
    }

    /* Complete any request accepted before startup calibration failed. */
    (void)AppIMU_ServiceRequest();

    /* Calibration failed: retry from a full AppIMU_Init() (not a bare
     * AppIMU_Calibrate() retry) so the driver and sensor return to a
     * known clean state -- re-probes the device, re-issues its internal
     * reset, and re-establishes every app-layer static, rather than
     * assuming the prior configuration/state survived whatever caused
     * the calibration read to fail. */
    osDelay(IMU_STARTUP_RETRY_INTERVAL_TICKS);
  }

  uint32_t lastTick = osKernelGetTickCount();

  for (;;)
  {
    if (AppIMU_ServiceRequest())
    {
      /* Exclude request servicing/calibration time from heading integration. */
      lastTick = osKernelGetTickCount();
    }

    uint32_t now = osKernelGetTickCount();

    float dt = (float)(now - lastTick)
             / (float)osKernelGetTickFreq();

    lastTick = now;

    AppIMU_Update(dt);

    osDelay(10);
  }

  /* USER CODE END StartIMUTask */
}

void StartEncoderTask(void *argument)
{
  /* USER CODE BEGIN StartEncoderTask */

  AppEncoder_Init();

  for (;;)
  {
    AppEncoder_Update();

    osDelay(10);
  }

  /* USER CODE END StartEncoderTask */
}

void StartCommTask(void *argument)
{
  /* USER CODE BEGIN StartCommTask */

  uint8_t byte;

  AppComm_Init();

  for (;;)
  {
    if (osMessageQueueGet(
          CommRxQueueHandle,
          &byte,
          NULL,
          10U) == osOK)
    {
      AppComm_ProcessByte(byte);
    }

    AppComm_ServiceTelemetry();

    /* Ultrasonic parking protection (opt-in, off after boot): evaluated
     * here, in CommTask, and requests the same priority STOP as the manual
     * command. Returns immediately while disabled. */
    AppComm_ServiceParking();

#if APP_USPARK_TRACE
    /* Measurement-only USPARK trace (bench builds): sends at most one line
     * per pass, and only once the stop is over and the link is idle. */
    AppComm_ServiceParkTrace();
#endif
  }

  /* USER CODE END StartCommTask */
}

void HAL_TIM_PeriodElapsedCallback(TIM_HandleTypeDef *htim)
{
  if (htim->Instance == TIM6)
  {
    HAL_IncTick();
  }
}

void Error_Handler(void)
{
  __disable_irq();
  while (1)
  {
  }
}
